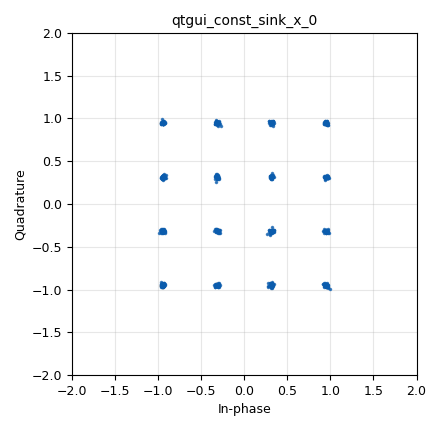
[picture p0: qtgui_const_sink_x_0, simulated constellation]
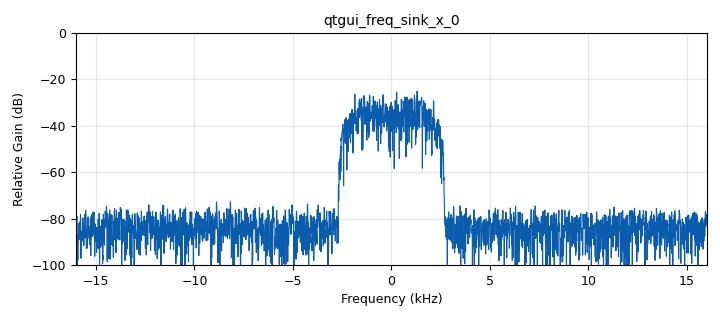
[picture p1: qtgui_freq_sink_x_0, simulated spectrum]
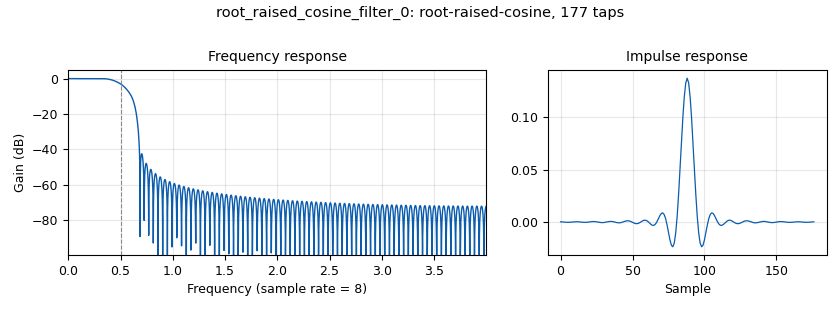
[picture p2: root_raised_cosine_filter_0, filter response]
<?xml version='1.0' encoding='utf-8'?>
<?grc format='1' created='3.7.10'?>
<flow_graph>
<block>
<key>options</key>
<param><key>id</key><value>multipath_psk</value></param>
<param><key>generate_options</key><value>qt_gui</value></param>
</block>
<block>
<key>variable_qtgui_range</key>
<param><key>id</key><value>cma</value></param>
<param><key>value</key><value>-20</value></param>
<param><key>gui_hint</key><value>2,0,1,4</value></param>
<param><key>orient</key><value>Qt.Horizontal</value></param>
<param><key>start</key><value>-40</value></param>
<param><key>step</key><value>1</value></param>
<param><key>stop</key><value>-10</value></param>
</block>
<block>
<key>variable_constellation</key>
<param><key>id</key><value>const</value></param>
<param><key>type</key><value>16qam</value></param>
<param><key>precision</key><value>8</value></param>
</block>
<block>
<key>variable</key>
<param><key>id</key><value>samp_rate</value></param>
<param><key>value</key><value>32000</value></param>
</block>
<block>
<key>variable</key>
<param><key>id</key><value>sps</value></param>
<param><key>value</key><value>8</value></param>
</block>
<block>
<key>variable_qtgui_range</key>
<param><key>id</key><value>tap1</value></param>
<param><key>value</key><value>0.25</value></param>
<param><key>gui_hint</key><value>1,0,1,1</value></param>
<param><key>orient</key><value>Qt.Vertical</value></param>
<param><key>start</key><value>0</value></param>
<param><key>step</key><value>0.01</value></param>
<param><key>stop</key><value>1</value></param>
<param><key>widget</key><value>slider</value></param>
</block>
<block>
<key>variable_qtgui_range</key>
<param><key>id</key><value>tap2</value></param>
<param><key>value</key><value>0.5</value></param>
<param><key>gui_hint</key><value>1,1,1,1</value></param>
<param><key>orient</key><value>Qt.Vertical</value></param>
<param><key>start</key><value>0</value></param>
<param><key>step</key><value>0.01</value></param>
<param><key>stop</key><value>1</value></param>
<param><key>widget</key><value>slider</value></param>
</block>
<block>
<key>variable_qtgui_range</key>
<param><key>id</key><value>tap3</value></param>
<param><key>value</key><value>0.6</value></param>
<param><key>gui_hint</key><value>1,2,1,1</value></param>
<param><key>orient</key><value>Qt.Vertical</value></param>
<param><key>start</key><value>0</value></param>
<param><key>step</key><value>0.01</value></param>
<param><key>stop</key><value>1</value></param>
<param><key>widget</key><value>slider</value></param>
</block>
<block>
<key>variable_qtgui_range</key>
<param><key>id</key><value>tap4</value></param>
<param><key>value</key><value>0.6</value></param>
<param><key>gui_hint</key><value>1,3,1,1</value></param>
<param><key>orient</key><value>Qt.Vertical</value></param>
<param><key>start</key><value>0</value></param>
<param><key>step</key><value>0.01</value></param>
<param><key>stop</key><value>1</value></param>
<param><key>widget</key><value>slider</value></param>
</block>
<block>
<key>variable</key>
<param><key>id</key><value>taps</value></param>
<param><key>value</key><value>fftpack.ifftshift(fftpack.ifft([tap3, tap4, 1.0, tap1, tap2,tap3, tap4, 1.0, tap1, tap2,tap3, tap4, 1.0, tap1, tap2]))</value></param>
</block>
<block>
<key>analog_random_source_x</key>
<param><key>id</key><value>analog_random_source_x_0</value></param>
<param><key>max</key><value>256</value></param>
<param><key>min</key><value>0</value></param>
<param><key>num_samps</key><value>1000000</value></param>
<param><key>type</key><value>byte</value></param>
<param><key>repeat</key><value>True</value></param>
</block>
<block>
<key>blocks_repack_bits_bb</key>
<param><key>id</key><value>blocks_repack_bits_bb_0</value></param>
<param><key>k</key><value>8</value></param>
<param><key>l</key><value>6</value></param>
<param><key>_enabled</key><value>0</value></param>
<param><key>endianness</key><value>gr.GR_LSB_FIRST</value></param>
</block>
<block>
<key>blocks_repeat</key>
<param><key>id</key><value>blocks_repeat_0</value></param>
<param><key>_enabled</key><value>0</value></param>
<param><key>interp</key><value>sps</value></param>
<param><key>type</key><value>complex</value></param>
</block>
<block>
<key>blocks_throttle</key>
<param><key>id</key><value>blocks_throttle_0</value></param>
<param><key>samples_per_second</key><value>samp_rate</value></param>
<param><key>type</key><value>complex</value></param>
</block>
<block>
<key>channels_channel_model</key>
<param><key>id</key><value>channels_channel_model_0</value></param>
<param><key>epsilon</key><value>1.0</value></param>
<param><key>freq_offset</key><value>0.0</value></param>
<param><key>noise_voltage</key><value>0.01</value></param>
<param><key>seed</key><value>0</value></param>
<param><key>taps</key><value>1</value></param>
</block>
<block>
<key>digital_chunks_to_symbols_xx</key>
<param><key>id</key><value>digital_chunks_to_symbols_xx_0</value></param>
<param><key>dimension</key><value>1</value></param>
<param><key>_enabled</key><value>0</value></param>
<param><key>in_type</key><value>byte</value></param>
<param><key>out_type</key><value>complex</value></param>
<param><key>symbol_table</key><value>[complex(1,1), complex(1,-1), complex(1,-3), complex(-3,-1), complex(-3,1), complex(1,3), complex(-3,-3), complex(-3,3), complex(-1,1), complex(-1,-1), complex(3,1), complex(-1,3), complex(-1,-3), complex(3,-1), complex(3,-3), complex(3,3), complex(5,1), complex(1,-5), complex(1,-7), complex(-7,-1), complex(-3,5), complex(5,3), complex(-7,-3), complex(-3,7), complex(-1,5), complex(-5,-1), complex(7,1), complex(-1,7), complex(-5,-3), complex(3,-5), complex(3,-7), complex(7,3), complex(1,5), complex(5,-1), complex(5,-3), complex(-3,-5), complex(-7,1), complex(1,7), complex(-3,-7), complex(-7,3), complex(-5,1), complex(-1,-5), complex(3,5), complex(-5,3), complex(-1,-7), complex(7,-1), complex(7,-3), complex(3,7), complex(5,5), complex(5,-5), complex(5,-7), complex(-7,-5), complex(-7,5), complex(5,7), complex(-7,-7), complex(-7,7), complex(-5,5), complex(-5,-5), complex(7,5), complex(-5,7), complex(-5,-7), complex(7,-5), complex(7,-7), complex(7,7)]</value></param>
</block>
<block>
<key>digital_clock_recovery_mm_xx</key>
<param><key>id</key><value>digital_clock_recovery_mm_xx_0</value></param>
<param><key>gain_mu</key><value>0.01</value></param>
<param><key>gain_omega</key><value>0.25*0.01*0.01</value></param>
<param><key>mu</key><value>0.5</value></param>
<param><key>omega_relative_limit</key><value>0.005</value></param>
<param><key>omega</key><value>sps*(1+0.0)</value></param>
<param><key>type</key><value>complex</value></param>
</block>
<block>
<key>digital_cma_equalizer_cc</key>
<param><key>id</key><value>digital_cma_equalizer_cc_0</value></param>
<param><key>_enabled</key><value>0</value></param>
<param><key>mu</key><value>pow(10.0,cma/10.0)</value></param>
<param><key>modulus</key><value>1.0</value></param>
<param><key>num_taps</key><value>16</value></param>
<param><key>sps</key><value>1</value></param>
</block>
<block>
<key>digital_constellation_modulator</key>
<param><key>id</key><value>digital_constellation_modulator_0</value></param>
<param><key>constellation</key><value>const</value></param>
<param><key>differential</key><value>True</value></param>
<param><key>excess_bw</key><value>0.35</value></param>
<param><key>samples_per_symbol</key><value>sps</value></param>
</block>
<block>
<key>digital_lms_dd_equalizer_cc</key>
<param><key>id</key><value>digital_lms_dd_equalizer_cc_0</value></param>
<param><key>cnst</key><value>const</value></param>
<param><key>_enabled</key><value>0</value></param>
<param><key>mu</key><value>0.01</value></param>
<param><key>num_taps</key><value>8</value></param>
<param><key>sps</key><value>1</value></param>
</block>
<block>
<key>digital_pfb_clock_sync_xxx</key>
<param><key>id</key><value>digital_pfb_clock_sync_xxx_0</value></param>
<param><key>_enabled</key><value>0</value></param>
<param><key>filter_size</key><value>32</value></param>
<param><key>init_phase</key><value>16</value></param>
<param><key>loop_bw</key><value>6.28/100</value></param>
<param><key>max_dev</key><value>1.5</value></param>
<param><key>osps</key><value>1</value></param>
<param><key>sps</key><value>1.0*sps</value></param>
<param><key>taps</key><value>firdes.root_raised_cosine(32.0,32.0*sps,1.0,0.35,11*sps*32)</value></param>
<param><key>type</key><value>ccf</value></param>
</block>
<block>
<key>import</key>
<param><key>id</key><value>import_scipy</value></param>
<param><key>import</key><value>from scipy import fftpack</value></param>
</block>
<block>
<key>qtgui_const_sink_x</key>
<param><key>id</key><value>qtgui_const_sink_x_0</value></param>
<param><key>gui_hint</key><value>0,2,1,2</value></param>
<param><key>size</key><value>1024</value></param>
<param><key>type</key><value>complex</value></param>
</block>
<block>
<key>qtgui_freq_sink_x</key>
<param><key>id</key><value>qtgui_freq_sink_x_0</value></param>
<param><key>bw</key><value>samp_rate</value></param>
<param><key>fc</key><value>0</value></param>
<param><key>fftsize</key><value>4096</value></param>
<param><key>gui_hint</key><value>0,0,1,2</value></param>
<param><key>showports</key><value>True</value></param>
<param><key>type</key><value>complex</value></param>
<param><key>wintype</key><value>firdes.WIN_BLACKMAN_hARRIS</value></param>
<param><key>ymax</key><value>0</value></param>
<param><key>ymin</key><value>-100</value></param>
</block>
<block>
<key>root_raised_cosine_filter</key>
<param><key>id</key><value>root_raised_cosine_filter_0</value></param>
<param><key>alpha</key><value>0.35</value></param>
<param><key>decim</key><value>1</value></param>
<param><key>type</key><value>fir_filter_ccf</value></param>
<param><key>gain</key><value>1.0</value></param>
<param><key>ntaps</key><value>22*sps</value></param>
<param><key>samp_rate</key><value>sps*1.0</value></param>
<param><key>sym_rate</key><value>1.0</value></param>
</block>
<block>
<key>root_raised_cosine_filter</key>
<param><key>id</key><value>root_raised_cosine_filter_1</value></param>
<param><key>alpha</key><value>0.35</value></param>
<param><key>decim</key><value>1</value></param>
<param><key>_enabled</key><value>0</value></param>
<param><key>type</key><value>fir_filter_ccf</value></param>
<param><key>gain</key><value>1</value></param>
<param><key>ntaps</key><value>11*sps</value></param>
<param><key>samp_rate</key><value>sps*1.0</value></param>
<param><key>sym_rate</key><value>1.0</value></param>
</block>
<connection><source_block_id>analog_random_source_x_0</source_block_id><sink_block_id>blocks_repack_bits_bb_0</sink_block_id><source_key>0</source_key><sink_key>0</sink_key></connection>
<connection><source_block_id>analog_random_source_x_0</source_block_id><sink_block_id>digital_constellation_modulator_0</sink_block_id><source_key>0</source_key><sink_key>0</sink_key></connection>
<connection><source_block_id>blocks_repack_bits_bb_0</source_block_id><sink_block_id>digital_chunks_to_symbols_xx_0</sink_block_id><source_key>0</source_key><sink_key>0</sink_key></connection>
<connection><source_block_id>blocks_repeat_0</source_block_id><sink_block_id>root_raised_cosine_filter_1</sink_block_id><source_key>0</source_key><sink_key>0</sink_key></connection>
<connection><source_block_id>blocks_throttle_0</source_block_id><sink_block_id>digital_pfb_clock_sync_xxx_0</sink_block_id><source_key>0</source_key><sink_key>0</sink_key></connection>
<connection><source_block_id>blocks_throttle_0</source_block_id><sink_block_id>qtgui_freq_sink_x_0</sink_block_id><source_key>0</source_key><sink_key>0</sink_key></connection>
<connection><source_block_id>blocks_throttle_0</source_block_id><sink_block_id>root_raised_cosine_filter_0</sink_block_id><source_key>0</source_key><sink_key>0</sink_key></connection>
<connection><source_block_id>channels_channel_model_0</source_block_id><sink_block_id>blocks_throttle_0</sink_block_id><source_key>0</source_key><sink_key>0</sink_key></connection>
<connection><source_block_id>digital_chunks_to_symbols_xx_0</source_block_id><sink_block_id>blocks_repeat_0</sink_block_id><source_key>0</source_key><sink_key>0</sink_key></connection>
<connection><source_block_id>digital_clock_recovery_mm_xx_0</source_block_id><sink_block_id>digital_cma_equalizer_cc_0</sink_block_id><source_key>0</source_key><sink_key>0</sink_key></connection>
<connection><source_block_id>digital_clock_recovery_mm_xx_0</source_block_id><sink_block_id>digital_lms_dd_equalizer_cc_0</sink_block_id><source_key>0</source_key><sink_key>0</sink_key></connection>
<connection><source_block_id>digital_clock_recovery_mm_xx_0</source_block_id><sink_block_id>qtgui_const_sink_x_0</sink_block_id><source_key>0</source_key><sink_key>0</sink_key></connection>
<connection><source_block_id>digital_constellation_modulator_0</source_block_id><sink_block_id>channels_channel_model_0</sink_block_id><source_key>0</source_key><sink_key>0</sink_key></connection>
<connection><source_block_id>digital_lms_dd_equalizer_cc_0</source_block_id><sink_block_id>qtgui_const_sink_x_0</sink_block_id><source_key>0</source_key><sink_key>0</sink_key></connection>
<connection><source_block_id>digital_pfb_clock_sync_xxx_0</source_block_id><sink_block_id>digital_cma_equalizer_cc_0</sink_block_id><source_key>0</source_key><sink_key>0</sink_key></connection>
<connection><source_block_id>digital_pfb_clock_sync_xxx_0</source_block_id><sink_block_id>qtgui_const_sink_x_0</sink_block_id><source_key>0</source_key><sink_key>0</sink_key></connection>
<connection><source_block_id>root_raised_cosine_filter_0</source_block_id><sink_block_id>digital_clock_recovery_mm_xx_0</sink_block_id><source_key>0</source_key><sink_key>0</sink_key></connection>
<connection><source_block_id>root_raised_cosine_filter_1</source_block_id><sink_block_id>channels_channel_model_0</sink_block_id><source_key>0</source_key><sink_key>0</sink_key></connection>
</flow_graph>
